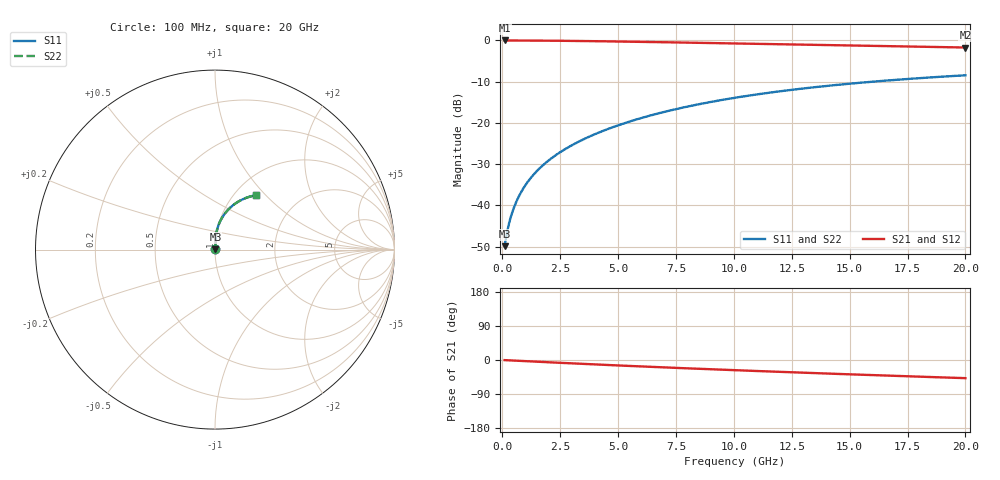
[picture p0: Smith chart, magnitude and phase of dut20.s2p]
! Touchstone file exported from HFSS 2024.1.0
!  File:  C:/UserFiles/LocalFiles/RDL_TSV_Batchsim/temp_RDL_bottom_20_1778691662.aedt
!  Generated:  01:03:49 AM May 14, 2026
!  Design:  RDL_bottom
!  Project:  temp_RDL_bottom_20_1778691662
!  Setup:  Setup1
!  Solution:  Sweep
! Variables:
!  dtsv = 10.80580581um
!  hbump = 3um
!  htsv = 79.98um
!  ldown = 698.5um
!  lrdl = 100um
!  p = 40
!  p1 = 55.49um
!  rhole = 1um
!  t = 450um
!  tdown = 3.98um
!  trdl = 3.915915916um
!  wdown = 26.8um
!  wrdl = 20um
# GHz S MA R 50.000000
! Terminal data exported
! Port[1] = RDL1_T1
! Port[2] = RDL1_T2
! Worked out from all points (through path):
!   200 points, 100 MHz to 20 GHz, reference 50 ohm
!   highest |S21| = -0.02 dB at 100 MHz (marker M1); lowest = -1.7 dB at 20 GHz (marker M2)
!   group delay of S21, straight-line fit = 6.57 ps
!   lowest |S11| = -49.9 dB at 100 MHz (marker M3), VSWR 1.01, Z = 50.3 + j0.197 ohm
!   |S11| at or under -10 dB: start of sweep to 16.01 GHz
!   |S22| runs from -49.9 to -8.5 dB; largest |S21 - S12| = 1.9e-14
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0.1  0.003216 37.6  0.9974 -0.3  0.9974 -0.3  0.003216 37.6
! Gamma 0 0 0 0
! Port Impedance 50 0 50 0
0.2  0.004669 54.2  0.9972 -0.6  0.9972 -0.6  0.004669 54.2
0.3  0.006219 62.4  0.997 -0.9  0.997 -0.9  0.006219 62.4
0.4  0.00779 67.5  0.9968 -1.2  0.9968 -1.2  0.00779 67.5
0.5  0.009384 71.1  0.9966 -1.5  0.9966 -1.5  0.009384 71.1
0.6  0.011 73.8  0.9964 -1.8  0.9964 -1.8  0.011 73.8
0.8  0.0143 77.4  0.996 -2.4  0.996 -2.4  0.0143 77.4
1.1  0.01936 80.7  0.9951 -3.3  0.9951 -3.3  0.01936 80.7
1.5  0.02626 83.1  0.9937 -4.5  0.9937 -4.5  0.02626 83.1
2.1  0.03691 85.0  0.9909 -6.3  0.9909 -6.3  0.03692 85.0
2.7  0.04793 85.9  0.9874 -8.0  0.9874 -8.0  0.04794 85.9
3.5  0.0632 86.2  0.9816 -10.3  0.9816 -10.3  0.06322 86.2
4.2  0.07709 85.9  0.9759 -12.2  0.9759 -12.2  0.07711 85.9
5  0.09349 85.2  0.9687 -14.4  0.9687 -14.4  0.09352 85.2
5.9  0.1125 83.9  0.9601 -16.8  0.9601 -16.8  0.1125 84.0
6.8  0.1318 82.4  0.9511 -19.1  0.9511 -19.1  0.1319 82.4
8.4  0.1665 79.1  0.9348 -23.0  0.9348 -23.0  0.1666 79.1
10.1  0.2028 75.3  0.9172 -27.0  0.9172 -27.0  0.203 75.3
11.7  0.2359 71.5  0.9008 -30.6  0.9008 -30.6  0.236 71.5
13.4  0.2692 67.5  0.8836 -34.4  0.8836 -34.4  0.2694 67.6
16.7  0.3277 60.1  0.8507 -41.3  0.8507 -41.3  0.3279 60.1
20  0.3776 53.2  0.8192 -47.9  0.8192 -47.9  0.3779 53.2
